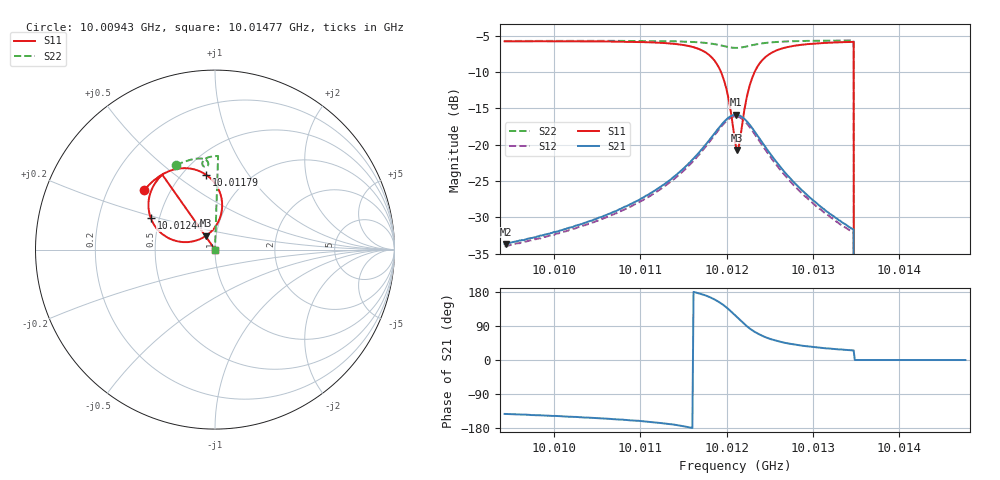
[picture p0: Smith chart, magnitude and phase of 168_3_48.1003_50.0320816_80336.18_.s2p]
#  HZ  S  RI  R  50.00
! Rohde & Schwarz Vector Network Analyzer
! Rohde-Schwarz,ZNB20-2Port,1311601062101988,3.16
! Created: UTC 12/23/2023, 3:51:29 AM
! freq[Hz]  re:S11  im:S11  re:S21  im:S21  re:S12  im:S12  re:S22  im:S22
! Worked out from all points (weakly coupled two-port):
!   401 points, 10.00943 GHz to 10.01477 GHz, reference 50 ohm
!   highest |S21| = -15.87 dB at 10.01211 GHz (marker M1); lowest = -33.7 dB at 10.00944 GHz (marker M2)
!   lowest |S11| = -20.7 dB at 10.01212 GHz (marker M3), VSWR 1.20, Z = 44.7 + j6.95 ohm
!   |S11| at or under -10 dB: 10.01193 GHz to 10.01232 GHz (389.5 kHz wide, 0.00389 % of centre); 10.01347 GHz to end of sweep
!   |S22| runs from - to -5.6 dB; largest |S21 - S12| = 0.0082
!   S11 on the Smith chart (normalised r, x): 10.00943 GHz: 0.36, +0.32; 10.01179 GHz: 0.65, +0.65; 10.01244 GHz: 0.45, +0.19; 10.01477 GHz: 1.00, +0.00
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1.0009425e10  -0.3949 0.3302  -0.0164 -0.0127  -0.0152 -0.0131  -0.2159 0.4706
1.0009438e10  -0.3941 0.331  -0.0164 -0.0126  -0.0152 -0.0131  -0.2153 0.4709
1.001032e10  -0.3398 0.3862  -0.0249 -0.0136  -0.0233 -0.0143  -0.1606 0.4932
1.0011215e10  -0.2393 0.443  -0.0489 -0.0124  -0.0465 -0.0144  -0.098 0.5075
1.0011536e10  -0.1606 0.4535  -0.0717 -0.0046  -0.0688 -0.00825  -0.0711 0.507
1.001179e10  -0.0475 0.4151  -0.1033 0.0231  -0.1012 0.0172  -0.0467 0.4972
1.0011883e10  0.00472 0.3619  -0.1145 0.049  -0.1138 0.0421  -0.0394 0.4879
1.0011963e10  0.0369 0.2823  -0.1168 0.0814  -0.1174 0.0738  -0.0372 0.477
1.001203e10  0.0328 0.1927  -0.1045 0.1142  -0.1067 0.1068  -0.0406 0.4673
1.0012097e10  -0.0173 0.1044  -0.0757 0.1419  -0.0796 0.1351  -0.0496 0.4613
1.001211e10  -0.0331 0.0896  -0.0682 0.1457  -0.0721 0.1392  -0.0518 0.4609
1.0012124e10  -0.0499 0.077  -0.0606 0.1487  -0.0647 0.1423  -0.054 0.4607
1.0012151e10  -0.0872 0.0567  -0.045 0.1524  -0.0486 0.1465  -0.0584 0.4616
1.0012231e10  -0.2033 0.0452  0.000242 0.1456  -0.00457 0.1405  -0.0682 0.4697
1.0012284e10  -0.2663 0.0681  0.022 0.1314  0.017 0.1272  -0.0708 0.4774
1.0012444e10  -0.3576 0.1752  0.0476 0.0849  0.0423 0.0828  -0.0642 0.4972
1.0012685e10  -0.3671 0.2887  0.045 0.0448  0.0409 0.0447  -0.0437 0.5117
1.0012992e10  -0.3392 0.3614  0.0344 0.0239  0.0318 0.0243  -0.0183 0.5187
1.0013446e10  -0.2961 0.4152  0.0239 0.0115  0.0222 0.0121  0.0153 0.5217
1.0013513e10  0 0  0 0  0 0  0 0
1.0013887e10  0 0  0 0  0 0  0 0
1.0014769e10  0 0  0 0  0 0  0 0
